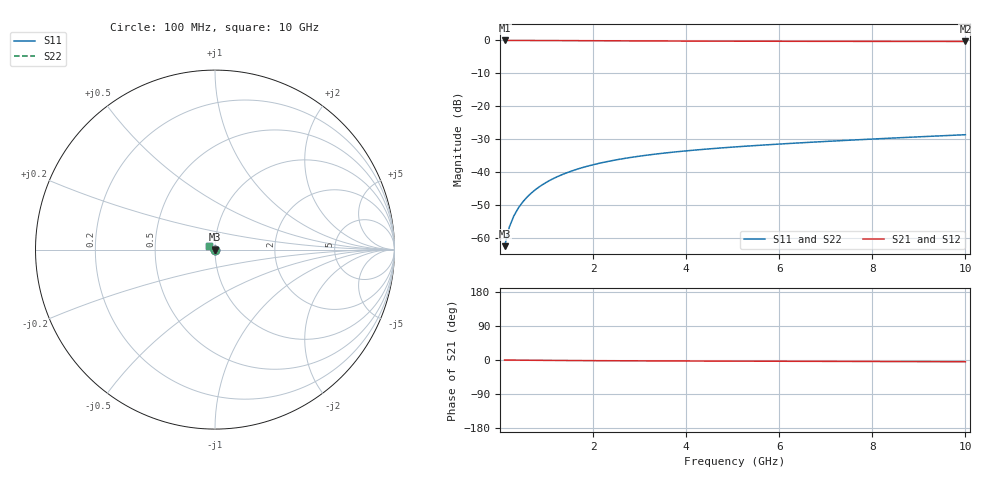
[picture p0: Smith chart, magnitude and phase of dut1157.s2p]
! Touchstone file exported from HFSS 2024.1.0
!  File:  C:/UserFiles/LocalFiles/RDL_TSV_Batchsim/temp_TSV1_1157_1780072540.aedt
!  Generated:  12:41:33 AM May 30, 2026
!  Design:  TSV1
!  Project:  temp_TSV1_1157_1780072540
!  Setup:  Setup1
!  Solution:  Sweep
! Variables:
!  dtsv = 8.06um
!  hbump = 3um
!  htsv = 65.4um
!  lrdl = 252.1521522um
!  p = 40
!  p1 = 59.5um
!  t = 500um
!  trdl = 3um
!  wrdl = 24.89489489um
# GHz S MA R 50.000000
! Terminal data exported
! Port[1] = TSV22_T1
! Port[2] = TSV22_T2
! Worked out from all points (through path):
!   100 points, 100 MHz to 10 GHz, reference 50 ohm
!   highest |S21| = 0.00 dB at 100 MHz (marker M1); lowest = -0.3 dB at 10 GHz (marker M2)
!   lowest |S11| = -62.5 dB at 100 MHz (marker M3), VSWR 1.00, Z = 50 - j0.0728 ohm
!   |S11| at or under -10 dB: start of sweep to end of sweep
!   |S22| runs from -62.5 to -28.7 dB; largest |S21 - S12| = 3.1e-15
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0.1  0.0007466 -77.1  0.9998 -0.1  0.9998 -0.1  0.0007466 -77.1
! Gamma 0 0 0 0
! Port Impedance 50 0 50 0
0.2  0.001453 -87.1  0.9997 -0.2  0.9997 -0.2  0.001453 -87.1
0.3  0.002165 -92.0  0.9995 -0.3  0.9995 -0.3  0.002165 -92.0
0.4  0.002875 -95.7  0.9993 -0.4  0.9993 -0.4  0.002875 -95.7
0.5  0.003581 -98.9  0.999 -0.5  0.999 -0.5  0.003581 -98.9
0.6  0.004281 -101.8  0.9987 -0.6  0.9987 -0.6  0.004281 -101.8
0.7  0.004974 -104.5  0.9983 -0.7  0.9983 -0.7  0.004974 -104.5
0.8  0.005659 -107.1  0.9978 -0.8  0.9978 -0.8  0.005659 -107.1
0.9  0.006333 -109.6  0.9974 -0.9  0.9974 -0.9  0.006333 -109.6
1.1  0.007649 -114.3  0.9963 -1.0  0.9963 -1.0  0.007649 -114.3
1.4  0.009526 -121.1  0.9945 -1.3  0.9945 -1.3  0.009526 -121.1
1.6  0.01071 -125.4  0.9932 -1.4  0.9932 -1.4  0.01071 -125.4
1.8  0.01183 -129.6  0.9918 -1.6  0.9918 -1.6  0.01183 -129.6
2.1  0.01341 -135.4  0.9898 -1.8  0.9898 -1.8  0.01341 -135.4
2.5  0.01532 -142.8  0.9871 -2.0  0.9871 -2.0  0.01532 -142.8
2.9  0.01703 -149.5  0.9846 -2.2  0.9846 -2.2  0.01703 -149.5
3.4  0.01894 -157.2  0.9817 -2.4  0.9817 -2.4  0.01894 -157.2
4.2  0.02159 -168.0  0.9778 -2.7  0.9778 -2.7  0.02159 -168.0
5.1  0.0242 -178.2  0.9745 -3.0  0.9745 -3.0  0.0242 -178.2
6.7  0.02841 167.1  0.9703 -3.5  0.9703 -3.5  0.02841 167.1
8.4  0.03273 155.2  0.9675 -4.1  0.9675 -4.1  0.03273 155.2
10  0.0369 146.3  0.9656 -4.6  0.9656 -4.6  0.0369 146.4
